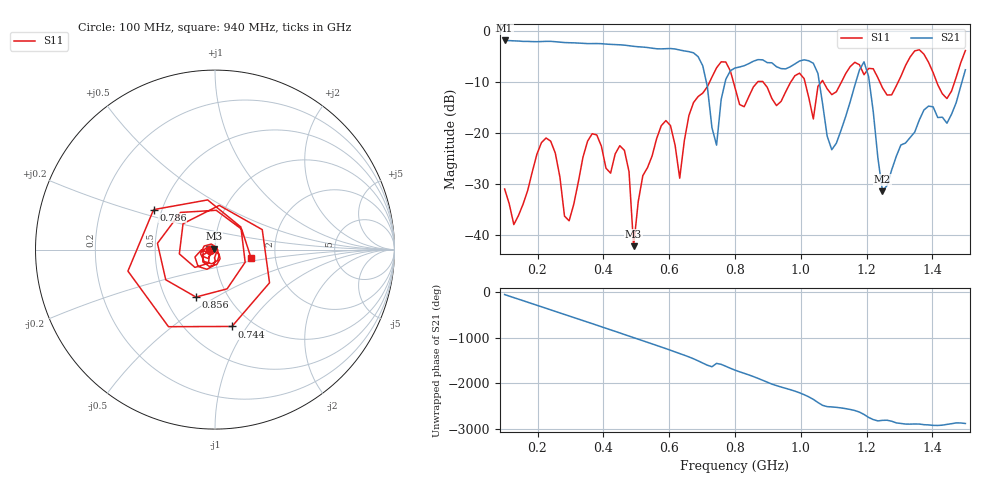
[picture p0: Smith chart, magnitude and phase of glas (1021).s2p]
! NanoVNA-App
! Date: 2025-09-25 16:03:25
! Start: 100MHz Stop: 1,5GHz Points: 101
! S-Parameter data: F S11 S21 S12 S22
# Hz S RI R 50
!  Frequency  S11_Real  S11_Imag  S21_Real  S21_Imag  S12_Real  S12_Imag  S22_Real  S22_Imag
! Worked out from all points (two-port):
!   101 points, 100 MHz to 1.5 GHz, reference 50 ohm
!   highest |S21| = -1.80 dB at 100 MHz (marker M1); lowest = -31.4 dB at 1.248 GHz (marker M2)
!   |S21| within 3 dB of the highest: start of sweep to 684.6 MHz
!   lowest |S11| = -42.1 dB at 492 MHz (marker M3), VSWR 1.02, Z = 49.5 + j0.603 ohm
!   |S11| at or under -10 dB: start of sweep to 722.5 MHz; 795.5 MHz to 868 MHz (72.54 MHz wide, 8.72 % of centre); 886.1 MHz to 969 MHz (82.9 MHz wide, 8.94 % of centre) (the widest 3 of 7)
!   S12 and S22 are empty: the file has one direction only
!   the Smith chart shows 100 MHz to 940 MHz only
!   S11 on the Smith chart (normalised r, x): 100 MHz: 0.94, -0.01; 744 MHz: 0.81, -0.85; 786 MHz: 0.45, +0.24; 856 MHz: 0.71, -0.41; 940 MHz: 1.49, -0.14
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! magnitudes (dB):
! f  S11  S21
! 100 MHz  -30.9  -1.8
! 128 MHz  -37.9  -1.9
! 226 MHz  -20.9  -2.0
! 296 MHz  -37.2  -2.2
! 338 MHz  -24.7  -2.4
! 464 MHz  -23.3  -2.7
! 492 MHz  -42.1  -3.0
! 576 MHz  -18.5  -3.5
! 632 MHz  -28.8  -3.7
! 702 MHz  -12.1  -6.8
! 744 MHz  -7.2  -22.3
! 786 MHz  -7.8  -7.7
! 800 MHz  -11.1  -7.2
! 856 MHz  -10.9  -5.9
! 940 MHz  -13.8  -7.3
! 996 MHz  -8.2  -5.8
! 1.038 GHz  -17.2  -6.3
! 1.094 GHz  -12.4  -23.2
! 1.192 GHz  -8.5  -6.0
! 1.248 GHz  -11.1  -31.4
! 1.276 GHz  -12.5  -27.2
! 1.5 GHz  -3.8  -7.5
